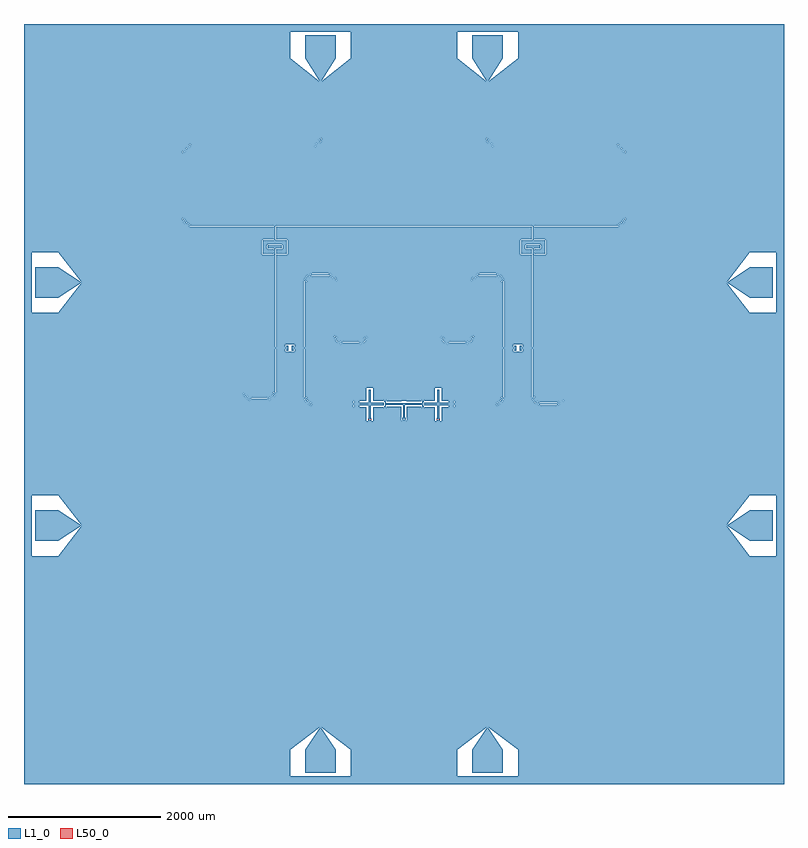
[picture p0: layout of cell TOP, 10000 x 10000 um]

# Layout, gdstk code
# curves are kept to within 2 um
import gdstk
lib = gdstk.Library(unit=1e-6, precision=1e-09)
def R(c, l, rs):  # rectangles x0, y0, x1, y1
    for r in rs: c.add(gdstk.rectangle(r[:2], r[2:], *l))
def P(c, l, *ps):  # polygons
    for p in ps: c.add(gdstk.Polygon(p, *l))
L1_0 = (1, 0)
L50_0 = (50, 0)

ground_main_1 = lib.new_cell('ground_main_1')
R(ground_main_1, L1_0, [(-399.5,-608.428,28.5,-568.601), (50.5,-608.428,399.5,-568.601), (-399.5,-568.601,28.5,-508.964), (50.5,-568.601,399.5,-508.964), (-5000,8.851,-3311,61.242), (3311,8.851,5000,61.242), (-5000,61.242,-3311,112.927), (3311,61.242,5000,112.927), (1717,112.927,2083,1521.729), (-5000,1521.729,-4900,1610.96), (-2083,1521.729,-1717,1610.96), (1717,1521.729,2083,1610.96), (4900,1521.729,5000,1610.96)])
P(ground_main_1, L1_0, [(5000,-3861.318),(74.424,-3861.318),(99.976,-3880.12),(133.187,-3888.839),(1003.979,-3889.04),(1036.123,-3894.758),(1065.173,-3909.659),(1082.879,-3925.543),(1095.254,-3942.289),(1104.253,-3961.067),(1109.993,-3984.15),(1111,-4250),(1500,-4550),(1500,-4900),(700,-4900),(700,-4550),(1089,-4250),(1087.04,-3980.53),(1077.649,-3955.77),(1061.318,-3934.924),(1039.524,-3919.88),(1014.241,-3912.002),(132.545,-3910.839),(106.213,-3906.155),(84.362,-3896.755),(62.853,-3880.86),(46.524,-3861.318),(-5000,-3861.318),(-5000,-4900),(-1500,-4900),(-1500,-4550),(-1111,-4250),(-1111,-4220),(-1089,-4220),(-1089,-4250),(-700,-4550),(-700,-4900),(-5000,-4900),(-5000,-5000),(5000,-5000)],
  [(-5000,-1557.711),(-5000,-3861.318),(46.524,-3861.318),(33.345,-3833.287),(28.5,-3801),(28.5,-1557.711),(-1604.746,-1557.711),(-1623.353,-1580.86),(-1644.862,-1596.755),(-1672.453,-1607.749),(-1699,-1611),(-4250,-1611),(-4550,-2000),(-4900,-2000),(-4900,-1557.711)],
  [(-1696.342,-1588.96),(-1660.476,-1580.12),(-1631.718,-1557.711),(-4274.13,-1557.711),(-4250,-1589)],
  [(5000,-1557.711),(4900,-1557.711),(4900,-2000),(4550,-2000),(4250,-1611),(1699,-1611),(1672.453,-1607.749),(1644.862,-1596.755),(1623.353,-1580.86),(1604.746,-1557.711),(50.5,-1557.711),(50.5,-3801),(58.253,-3837.116),(74.424,-3861.318),(5000,-3861.318)],
  [(4274.13,-1557.711),(1631.718,-1557.711),(1646.846,-1571.88),(1662.884,-1581.247),(1699,-1589),(4250,-1589)],
  [(-1631.399,-1557.339),(-1617.699,-1534.676),(-1611.361,-1508.964),(-1610.839,-1093.045),(-1605.242,-1063.877),(-1591.7,-1036.775),(-5000,-1036.775),(-5000,-1557.711),(-4900,-1557.711),(-4900,-1200),(-4550,-1200),(-4274.13,-1557.711)],
  [(28.5,-1036.775),(-1563.225,-1036.775),(-1580.12,-1060.476),(-1588.639,-1091.036),(-1589.04,-1503.979),(-1593.845,-1533.287),(-1604.746,-1557.711),(28.5,-1557.711)],
  [(1603.245,-1555.138),(1593.01,-1530.428),(1589.04,-1503.979),(1588.639,-1091.036),(1580.12,-1060.476),(1563.225,-1036.775),(50.5,-1036.775),(50.5,-1557.711),(1604.746,-1557.711)],
  [(5000,-1036.775),(1591.7,-1036.775),(1605.242,-1063.877),(1610.839,-1093.045),(1612.002,-1514.241),(1618.753,-1537.116),(1631.718,-1557.711),(4274.13,-1557.711),(4550,-1200),(4900,-1200),(4900,-1557.711),(5000,-1557.711)],
  [(-1590.341,-1034.827),(-1574.457,-1017.121),(-1552.525,-1001.814),(-1530.428,-993.01),(-1506.955,-989.161),(-509.5,-989),(-488.44,-986.443),(-5000,-986.443),(-5000,-1036.775)],
  [(28.5,-986.443),(-440.23,-986.443),(-471.567,-1004.253),(-506.521,-1010.96),(-1503.658,-1011.04),(-1537.116,-1018.753),(-1563.225,-1036.775),(28.5,-1036.775)],
  [(1561.318,-1034.924),(1534.676,-1017.699),(1503.658,-1011.04),(506.521,-1010.96),(471.567,-1004.253),(440.23,-986.443),(50.5,-986.443),(50.5,-1036.775)],
  [(5000,-986.443),(488.44,-986.443),(509.5,-989),(1506.955,-989.161),(1533.287,-993.845),(1555.138,-1003.245),(1574.457,-1017.121),(1591.7,-1036.775),(5000,-1036.775)],
  [(-485.869,-985.768),(-463.974,-976.309),(-443.631,-959.355),(-430.38,-939.524),(-422.941,-916.862),(-421.5,-608.428),(-685.353,-608.428),(-709,-611),(-5000,-608.428),(-5000,-986.443)],
  [(28.5,-608.428),(-399.5,-608.428),(-400.145,-912.893),(-412.314,-952.525),(-423.765,-969.916),(-440.23,-986.443),(28.5,-986.443)],
  [(440.23,-986.443),(423.765,-969.916),(412.314,-952.525),(400.145,-912.893),(399.5,-608.428),(50.5,-608.428),(50.5,-986.443)],
  [(5000,-608.428),(3224.647,-608.428),(3201,-611),(709,-611),(685.353,-608.428),(421.5,-608.428),(421.661,-906.313),(428.199,-934.676),(441.899,-957.339),(463.974,-976.309),(488.44,-986.443),(5000,-986.443)],
  [(-3227.547,-607.749),(-3260.242,-593.684),(-3287.763,-568.601),(-5000,-568.601),(-5000,-608.428)],
  [(-706.342,-588.96),(-677.795,-583.281),(-652.661,-568.601),(-3257.339,-568.601),(-3229.706,-584.186),(-3201,-589)],
  [(-421.5,-568.601),(-622.237,-568.601),(-649.758,-593.684),(-685.353,-608.428),(-421.5,-608.428)],
  [(682.453,-607.749),(649.758,-593.684),(622.237,-568.601),(421.5,-568.601),(421.5,-608.428)],
  [(3203.658,-588.96),(3232.205,-583.281),(3257.339,-568.601),(652.661,-568.601),(680.294,-584.186),(709,-589)],
  [(5000,-568.601),(3287.763,-568.601),(3260.242,-593.684),(3224.647,-608.428),(5000,-608.428)],
  [(-3288.57,-567.569),(-3304.253,-538.933),(-3310.702,-508.964),(-5000,-508.964),(-5000,-568.601)],
  [(-650.645,-566.869),(-629.88,-539.524),(-621.361,-508.964),(-3288.639,-508.964),(-3278.92,-541.896),(-3257.339,-568.601)],
  [(-421.5,-508.964),(-599.298,-508.964),(-606.813,-541.715),(-622.237,-568.601),(-421.5,-568.601)],
  [(621.43,-567.569),(605.747,-538.933),(599.298,-508.964),(421.5,-508.964),(421.5,-568.601)],
  [(3259.355,-566.869),(3280.12,-539.524),(3288.639,-508.964),(621.361,-508.964),(631.08,-541.896),(652.661,-568.601)],
  [(5000,-508.964),(3310.702,-508.964),(3303.187,-541.715),(3287.763,-568.601),(5000,-568.601)],
  [(-3310.839,-506.955),(-3310.96,-503.979),(-3311,-501),(-3311,8.851),(-5000,8.851),(-5000,-508.964),(-3310.702,-508.964)],
  [(28.5,-508.964),(28.5,-245),(-20.5,-245),(-20.5,-239),(34.5,-239),(34.5,-398),(44.5,-398),(44.5,-229),(-20.5,-229),(-20.5,-223),(50.5,-223),(50.5,-508.964),(399.5,-508.964),(399.5,-228),(470.5,-228),(470.5,-234),(405.5,-234),(405.5,-403),(415.5,-403),(415.5,-244),(470.5,-244),(470.5,-250),(421.5,-250),(421.5,-508.964),(599.298,-508.964),(599,-289),(621,-289),(621.361,-508.964),(3288.639,-508.964),(3289,8.851),(2069.909,8.851),(2036.846,-8.168),(2001,-13.845),(1789.899,-13.487),(1757.429,-6.14),(1730.091,8.851),(1274.001,8.851),(1242.571,-9.295),(1207.071,-16.841),(665,-17),(665,-45),(495,-45),(495,-225),(405,-225),(405,-45),(272,-45),(272,-52),(228,-52),(228,-37.5),(37.5,-37.5),(37.5,-220),(-37.5,-220),(-37.5,-37.5),(-228,-37.5),(-228,-52),(-272,-52),(-272,-45),(-405,-45),(-405,-225),(-495,-225),(-495,-45),(-665,-45),(-665,-17),(-1207.071,-16.841),(-1242.571,-9.295),(-1274.001,8.851),(-3289,8.851),(-3288.639,-508.964),(-621.361,-508.964),(-621,-289),(-599,-289),(-599.298,-508.964),(-421.5,-508.964),(-421.5,-250),(-470.5,-250),(-470.5,-244),(-415.5,-244),(-415.5,-403),(-405.5,-403),(-405.5,-234),(-470.5,-234),(-470.5,-228),(-399.5,-228),(-399.5,-508.964)],
  [(5000,8.851),(3311,8.851),(3311,-501),(3310.96,-503.979),(3310.839,-506.955),(3310.702,-508.964),(5000,-508.964)],
  [(-1276.336,10.793),(-1296.599,33.297),(-1310.674,61.242),(-1743.65,61.242),(-1771.92,50.39),(-1799,47.185),(-2007.071,47.344),(-2033.946,51.962),(-2056.35,61.242),(-3289,61.242),(-3289,8.851)],
  [(1728.384,10.126),(1705.154,33.972),(1690.462,61.242),(1310.674,61.242),(1296.599,33.297),(1274.001,8.851)],
  [(2003.576,20.195),(2023.877,23.411),(2042.741,31.574),(2058.983,44.172),(2072.053,61.242),(1727.947,61.242),(1739.225,46.022),(1752.909,34.334),(1786.172,21.165)],
  [(3289,61.242),(2109.538,61.242),(2093.029,31.539),(2069.909,8.851),(3289,8.851)],
  [(-2059,62.726),(-2085.143,83.336),(-2105.543,112.927),(-3289,112.927),(-3289,61.242)],
  [(-1796.424,81.225),(-1761.773,90.122),(-1734.207,112.927),(-2065.793,112.927),(-2040.504,91.328),(-2011.277,81.832)],
  [(-1311.323,63.154),(-1316.365,86.875),(-1317,112.927),(-1694.457,112.927),(-1714.857,83.336),(-1743.65,61.242)],
  [(1689.654,63.433),(1683.992,87.014),(1683,112.927),(1317,112.927),(1316.008,83.859),(1310.674,61.242),(1690.462,61.242)],
  [(2072.857,62.651),(2081.548,86.79),(2083,112.927),(1717,112.927),(1718.975,84.267),(1727.947,61.242)],
  [(3289,112.927),(2117,112.927),(2116.008,87.014),(2109.538,61.242),(3289,61.242)],
  [(-5000,1521.729),(-5000,112.927),(-3311,112.927),(-3311,1501),(-3313.481,1521.729),(-4301.88,1521.729),(-4550,1200),(-4900,1200),(-4900,1521.729)],
  [(-2105.7,113.246),(-2113.795,136.105),(-2117,163.185),(-2117,1521.729),(-3290.971,1521.729),(-3289,112.927)],
  [(-1732.661,114.987),(-1721.013,137.846),(-1717,163.185),(-1717,1521.729),(-2083,1521.729),(-2083,163.185),(-2080.424,142.792),(-2065.793,112.927),(-1734.207,112.927)],
  [(3289,1501),(3289.04,1503.979),(3289.161,1506.955),(3289.363,1509.927),(3289.645,1512.893),(3290.007,1515.85),(3290.449,1518.796),(3290.971,1521.729),(2117,1521.729),(2117,112.927),(3289,112.927)],
  [(5000,1521.729),(4900,1521.729),(4900,1200),(4550,1200),(4301.88,1521.729),(3313.481,1521.729),(3311,1501),(3311,112.927),(5000,112.927)],
  [(1683,718.491),(1563.5,718.491),(1561.5,686.991),(1438.304,687.001),(1436.5,718.491),(1317,718.491),(1317,112.927),(1683,112.927)],
  [(-1317,718.491),(-1436.5,718.491),(-1438.5,686.991),(-1561.696,687.001),(-1563.5,718.491),(-1683,718.491),(-1683.04,160.148),(-1686.205,136.105),(-1694.457,112.927),(-1317,112.927)],
  [(-2117,1610.96),(-3396.021,1610.96),(-3361.067,1604.253),(-3327.788,1584.838),(-3304.746,1557.711),(-3290.971,1521.729),(-2117,1521.729)],
  [(3291.572,1524.647),(3304.746,1557.711),(3327.788,1584.838),(3361.067,1604.253),(3396.021,1610.96),(2117,1610.96),(2117,1521.729),(3290.971,1521.729)],
  [(4250,1589),(3393.687,1588.839),(3365.324,1582.301),(3342.661,1568.601),(3323.691,1546.526),(3313.481,1521.729),(4301.88,1521.729)],
  [(-3313.557,1522.06),(-3323.691,1546.526),(-3342.661,1568.601),(-3365.324,1582.301),(-3393.687,1588.839),(-4250,1589),(-4301.88,1521.729)],
  [(-1717,1963.491),(-1861.176,1963.549),(-1869.276,1967.878),(-1872,1975.491),(-1871.087,2157.083),(-1866.667,2162.469),(-1860,2164.491),(-1717,2164.491),(-1717,2333.491),(-2804.037,2333.531),(-2828.08,2336.696),(-2853.663,2346.134),(-2876.336,2361.284),(-2893.055,2378.91),(-5000,2378.91),(-5000,1610.96),(-4900,1610.96),(-4900,2000),(-4550,2000),(-4250,1611),(-2117,1610.96),(-2117,1700.491),(-2083,1700.491),(-2083,1610.96),(-1717,1610.96)],
  [(2803.576,2367.532),(2823.877,2370.747),(2842.741,2378.91),(-2842.741,2378.91),(-2821.393,2370.067),(-2801,2367.491)],
  [(5000,2378.91),(2893.055,2378.91),(2876.336,2361.284),(2853.663,2346.134),(2828.08,2336.696),(2804.037,2333.531),(1717,2333.491),(1717,2164.491),(1861.176,2164.433),(1869.276,2160.104),(1872,2152.491),(1872,1975.491),(1869.276,1967.878),(1860,1963.491),(1717,1963.491),(1717,1610.96),(2083,1610.96),(2083,1700.491),(2117,1700.491),(2117,1610.96),(4250,1611),(4550,2000),(4900,2000),(4900,1610.96),(5000,1610.96)],
  [(-2893.055,2378.91),(-2910.346,2410.77),(-2916.96,2446.455),(-2917,3301),(-2914.465,3325.118),(-2906.971,3348.181),(-5000,3348.181),(-5000,2378.91)],
  [(2844.938,2380.256),(2860.775,2393.358),(2872.857,2409.987),(2880.424,2429.099),(2882.96,2446.915),(2882.96,3303.576),(2878.987,3326.339),(2868.054,3348.181),(-2868.054,3348.181),(-2877.242,3331.186),(-2881.99,3313.828),(-2882.96,2446.915),(-2879.744,2426.614),(-2871.581,2407.75),(-2858.983,2391.508),(-2842.741,2378.91)],
  [(5000,3348.181),(2906.971,3348.181),(2914.465,3325.118),(2917,3301),(2916.96,2446.455),(2910.346,2410.77),(2893.055,2378.91),(5000,2378.91)],
  [(-2905.7,3350.939),(-2891.149,3374.001),(-2871.616,3393.029),(-2848.181,3406.971),(-2823.15,3414.857),(-5000,3414.857),(-5000,3348.181),(-2906.971,3348.181)],
  [(2867.339,3349.198),(2855.228,3362.509),(2838.227,3374.063),(2803.576,3382.96),(1195.963,3383.04),(1154.609,3391.83),(1119.151,3414.857),(-1119.151,3414.857),(-1154.609,3391.83),(-1195.963,3383.04),(-2803.576,3382.96),(-2821.393,3380.424),(-2840.504,3372.857),(-2855.228,3362.509),(-2868.054,3348.181)],
  [(5000,3414.857),(2823.15,3414.857),(2850.939,3405.7),(2874.001,3391.149),(2893.029,3371.616),(2906.971,3348.181),(5000,3348.181)],
  [(-2822.139,3415.058),(-1199,3417),(-1173.661,3421.013),(-1152.909,3431.179),(-1137.491,3444.772),(-1127.143,3459.496),(-1119.576,3478.607),(-1117.04,3496.424),(-1117,4250),(-1500,4550),(-1500,4900),(-700,4900),(-700,4550),(-1083,4250),(-1083.159,3492.929),(-1086.205,3471.92),(-1094.3,3449.061),(-1119.151,3414.857),(700,3414.857),(700,5000),(-5000,5000),(-5000,3414.857)],
  [(1500,4550),(1117,4250),(1117.162,3493.851),(1122.758,3468.814),(1134.207,3448.742),(1152.909,3431.179),(1173.661,3421.013),(1199,3417),(5000,3414.857),(5000,5000),(700,5000),(700,4900),(1500,4900)],
  [(1119.151,3414.857),(1094.3,3449.061),(1086.205,3471.92),(1083.159,3492.929),(1083,4250),(700,4550),(700,3414.857)],
  [(-1563.5,781.991),(-1438.304,783.982),(-1436.5,752.491),(-1317,752.491),(-1316.841,1607.562),(-1309.295,1643.062),(-1291.149,1674.492),(-1266.703,1697.09),(-1233.946,1712.714),(-1233.946,2333.491),(-1683,2333.491),(-1683,2164.491),(-1538.824,2164.433),(-1531.515,2160.976),(-1528.058,2153.667),(-1528,1975.491),(-1530.724,1967.878),(-1540,1963.491),(-1683,1963.491),(-1683,752.491),(-1563.5,752.491)],
  [(-1233.946,1676.576),(-1255.228,1663),(-1270.235,1645.429),(-1279.744,1624.368),(-1283,1601.491),(-1282.96,96.424),(-1278.987,73.661),(-1268.821,52.909),(-1253.269,35.818),(-1233.946,23.916)],
  [(-1228.08,1714.286),(-1201,1717.491),(-999,1717.491),(-974.882,1714.956),(-946.337,1704.848),(-923.664,1689.698),(-905.154,1669.674),(-891.83,1645.882),(-883.04,1604.528),(-883,899.491),(-878.619,873.078),(-878.619,2333.491),(-1233.946,2333.491),(-1233.946,1712.714)],
  [(-878.619,813.286),(-894.846,831.308),(-905.7,849.552),(-913.795,872.412),(-916.841,893.42),(-917,1601.491),(-922.758,1631.677),(-932.661,1649.69),(-946.731,1664.673),(-964.086,1675.687),(-986.172,1682.482),(-1203.576,1683.451),(-1231.186,1677.733),(-1233.946,1676.576),(-1233.946,23.916),(-1203.576,17.04),(-878.619,17)],
  [(1235.914,24.804),(1255.228,37.491),(1268.821,52.909),(1278.987,73.661),(1282.96,96.424),(1283,1601.491),(1279.744,1624.368),(1270.235,1645.429),(1255.228,1663),(1233.946,1676.576)],
  [(228,37.5),(228,52),(272,52),(272,45),(405,45),(405,215),(495,215),(495,45),(665,45),(665,17),(878.619,17),(878.619,813.286),(845.391,792.321),(810.101,783.849),(599,783.491),(574.882,786.026),(538.39,800.585),(508.851,826.49),(489.654,860.77),(483,899.491),(483,1164.236),(517,1164.236),(517.364,891.774),(525.937,862.264),(546.731,836.309),(568.814,823.249),(593.851,817.653),(811.277,818.138),(833.566,824.235),(853.269,836.309),(868.821,853.4),(878.619,873.078),(878.619,2333.491),(37.5,2333.491),(37.5,37.5)],
  [(878.987,874.152),(883,899.491),(883,1601.491),(886.205,1628.571),(897.057,1656.842),(916.976,1683.516),(941,1701.95),(971.92,1714.286),(995.963,1717.451),(1201,1717.491),(1233.946,1712.714),(1233.946,2333.491),(878.619,2333.491)],
  [(1203.576,17.04),(1233.946,23.916),(1233.946,1676.576),(1203.576,1683.451),(988.723,1682.845),(961.773,1674.554),(939.225,1657.624),(923.744,1634.057),(917.162,1606.64),(916.841,893.42),(913.795,872.412),(905.7,849.552),(894.846,831.308),(878.619,813.286),(878.619,17)],
  [(1436.5,781.991),(1561.696,783.982),(1563.5,752.491),(1683,752.491),(1683,1963.491),(1538.824,1963.549),(1530.724,1967.878),(1528,1975.491),(1528.913,2157.083),(1533.333,2162.469),(1540,2164.491),(1683,2164.491),(1683,2333.491),(1233.946,2333.491),(1233.946,1712.714),(1266.703,1697.09),(1291.149,1674.492),(1309.295,1643.062),(1316.841,1607.562),(1317,752.491),(1436.5,752.491)],
  [(-596.424,817.532),(-581.112,819.466),(-568.814,823.249),(-831.186,823.249),(-818.888,819.466),(-803.576,817.532)],
  [(-665,45),(-495,45),(-495,215),(-405,215),(-405,45),(-272,45),(-272,52),(-228,52),(-228,37.5),(37.5,40),(37.5,823.249),(-511.587,823.249),(-530.817,805.645),(-551.819,793.52),(-574.882,786.026),(-599,783.491),(-813.125,784.127),(-848.181,793.52),(-878.619,813.286),(-878.619,17),(-665,17)],
  [(37.5,2333.491),(-878.619,2333.491),(-878.619,873.078),(-864.182,847.222),(-842.741,828.91),(-831.186,823.249),(-568.814,823.249),(-557.259,828.91),(-531.179,853.4),(-518.452,884.126),(-517,1041.566),(-483,1041.566),(-483.992,884.35),(-493.029,852.31),(-511.587,823.249),(37.5,823.249)])

top_main_1 = lib.new_cell('TOP_main_1')
R(top_main_1, L1_0, [(-1577.5,727.491,-1557.5,743.491), (-1557.5,727.491,-1547.499,743.491), (-1452.501,727.491,-1442.5,743.491), (-1442.5,727.491,-1422.5,743.491), (1422.5,727.491,1442.5,743.491), (1442.5,727.491,1452.501,743.491), (1547.499,727.491,1557.5,743.491), (1557.5,727.491,1577.5,743.491), (-1708,885.491,-1692,1935.491), (1692,885.491,1708,1935.491), (-1708,1935.491,-1692,2047.492), (1692,1935.491,1708,2047.492), (-1708,2152.49,-1692,2200.491), (1692,2152.49,1708,2200.491), (-1708,2200.491,-1692,2250.491), (1692,2200.491,1708,2250.491), (-1550,2342.491,1550,2358.491)])
P(top_main_1, L1_0, [(-635,-15),(-465,-15),(-465,-185),(-470,-185),(-470,-202.5),(-460,-202.5),(-460,-193),(-440,-193),(-440,-202.5),(-430,-202.5),(-430,-185),(-435,-185),(-435,-15),(-265,-15),(-265,15),(-435,15),(-435,185),(-465,185),(-465,15),(-635,15),(-635,-15)],
  [(-430,-225),(-430,-207.5),(-440,-207.5),(-440,-217),(-460,-217),(-460,-207.5),(-470,-207.5),(-470,-225),(-430,-225)],
  [(-588,-23),(-588,-33),(-643,-33),(-653,-33),(-653,-8),(-693,-8),(-693,8),(-653,8),(-653,33),(-643,33),(-588,33),(-588,23),(-643,23),(-643,-23),(-588,-23)],
  [(-405.5,-234),(-415.5,-234),(-470.5,-234),(-470.5,-244),(-415.5,-244),(-415.5,-403),(-405.5,-403),(-405.5,-244),(-405.5,-234)],
  [(265,-15),(435,-15),(435,-185),(430,-185),(430,-202.5),(440,-202.5),(440,-193),(460,-193),(460,-202.5),(470,-202.5),(470,-185),(465,-185),(465,-15),(635,-15),(635,15),(465,15),(465,185),(435,185),(435,15),(265,15),(265,-15)],
  [(470,-225),(470,-207.5),(460,-207.5),(460,-217),(440,-217),(440,-207.5),(430,-207.5),(430,-225),(470,-225)],
  [(588,23),(588,33),(643,33),(653,33),(653,8),(693,8),(693,-8),(653,-8),(653,-33),(643,-33),(588,-33),(588,-23),(643,-23),(643,23),(588,23)],
  [(405.5,-234),(415.5,-234),(470.5,-234),(470.5,-244),(415.5,-244),(415.5,-403),(405.5,-403),(405.5,-244),(405.5,-234)],
  [(-250,30),(-250,-30),(-260,-30),(-260,-40),(-250,-40),(-240,-40),(-240,-7.5),(-7.5,-7.5),(-7.5,-180),(-20,-180),(-20,-197.5),(-10,-197.5),(-10,-188),(10,-188),(10,-197.5),(20,-197.5),(20,-180),(7.5,-180),(7.5,-7.5),(240,-7.5),(240,-40),(250,-40),(260,-40),(260,-30),(250,-30),(250,30),(260,30),(260,40),(250,40),(240,40),(240,7.5),(-240,7.5),(-240,40),(-250,40),(-260,40),(-260,30),(-250,30)],
  [(20,-220),(20,-202.5),(10,-202.5),(10,-212),(-10,-212),(-10,-202.5),(-20,-202.5),(-20,-220),(20,-220)],
  [(44.5,-229),(34.5,-229),(-20.5,-229),(-20.5,-239),(34.5,-239),(34.5,-398),(44.5,-398),(44.5,-239),(44.5,-229)],
  [(-4250,1605),(-4550,1800),(-4850,1800),(-4850,1400),(-4550,1400),(-4250,1595),(-4220,1595),(-4220,1605),(-4250,1605)],
  [(-4250,-1595),(-4550,-1400),(-4850,-1400),(-4850,-1800),(-4550,-1800),(-4250,-1605),(-4220,-1605),(-4220,-1595),(-4250,-1595)],
  [(1095,-4250),(900,-4550),(900,-4850),(1300,-4850),(1300,-4550),(1105,-4250),(1105,-4220),(1095,-4220),(1095,-4250)],
  [(4250,-1605),(4550,-1800),(4850,-1800),(4850,-1400),(4550,-1400),(4250,-1595),(4220,-1595),(4220,-1605),(4250,-1605)],
  [(4250,1595),(4550,1400),(4850,1400),(4850,1800),(4550,1800),(4250,1605),(4220,1605),(4220,1595),(4250,1595)],
  [(1108,4250),(1300,4550),(1300,4850),(900,4850),(900,4550),(1092,4250),(1092,4220),(1108,4220),(1108,4250)],
  [(-1092,4250),(-900,4550),(-900,4850),(-1300,4850),(-1300,4550),(-1108,4250),(-1108,4220),(-1092,4220),(-1092,4250)],
  [(-1105,-4250),(-1300,-4550),(-1300,-4850),(-900,-4850),(-900,-4550),(-1095,-4250),(-1095,-4220),(-1105,-4220),(-1105,-4250)],
  [(-1708,2250.491),(-1708,2342.491),(-1850,2342.491),(-1850,2358.491),(-1550,2358.491),(-1550,2342.491),(-1692,2342.491),(-1692,2250.491),(-1708,2250.491)],
  [(-1791,2080.491),(-1788.657,2086.148),(-1783,2088.491),(-1616.216,2088.453),(-1609.154,2082.052),(-1609.039,2054.707),(-1611.343,2049.834),(-1617,2047.491),(-1783.784,2047.53),(-1790.846,2053.93)],
  [(-1724.902,1975.496),(-1717.067,1982.513),(-1718.247,2031.767),(-1724.412,2035.462),(-1799.445,2036.839),(-1802.961,2042.707),(-1803,2092.491),(-1800.657,2098.148),(-1795.784,2100.453),(-1717,2100.491),(-1717,2152.491),(-1856.917,2150.792),(-1860,2144.393),(-1858.301,1978.574),(-1851.902,1975.491)],
  [(-1547.902,1975.496),(-1542.489,1977.702),(-1540.005,1983.393),(-1540,2144.393),(-1542.211,2150.003),(-1548.098,2152.491),(-1717,2152.491),(-1717,2100.491),(-1604.216,2100.453),(-1597.154,2094.052),(-1597.039,2042.707),(-1600.555,2036.839),(-1675.588,2035.462),(-1681.535,2032.093),(-1683,1983.589),(-1680.789,1977.98),(-1674.902,1975.491)],
  [(-1692,885.491),(-1692,743.491),(-1577.5,743.491),(-1577.5,727.491),(-1692,727.491),(-1692,585.491),(-1708,585.491),(-1708,885.491),(-1692,885.491)],
  [(-1422.5,743.491),(-1308,743.491),(-1308,885.491),(-1292,885.491),(-1292,585.491),(-1308,585.491),(-1308,727.491),(-1422.5,727.491),(-1422.5,743.491)],
  [(-1545.5,702.991),(-1547.5,704.991),(-1547.414,766.572),(-1523.919,767.905),(-1522.586,704.411)],
  [(-1475.5,702.991),(-1477.5,704.991),(-1477.414,766.572),(-1453.919,767.905),(-1452.586,704.411)],
  [(1692,2250.491),(1692,2342.491),(1550,2342.491),(1550,2358.491),(1850,2358.491),(1850,2342.491),(1708,2342.491),(1708,2250.491),(1692,2250.491)],
  [(1609,2080.491),(1611.343,2086.148),(1617,2088.491),(1783.784,2088.453),(1790.846,2082.052),(1790.961,2054.707),(1788.657,2049.834),(1783,2047.491),(1616.216,2047.53),(1609.154,2053.93)],
  [(1675.098,1975.496),(1682.933,1982.513),(1681.753,2031.767),(1675.588,2035.462),(1600.555,2036.839),(1597.039,2042.707),(1597,2092.491),(1599.343,2098.148),(1604.216,2100.453),(1683,2100.491),(1683,2152.491),(1543.083,2150.792),(1540,2144.393),(1541.699,1978.574),(1548.098,1975.491)],
  [(1852.098,1975.496),(1857.511,1977.702),(1859.995,1983.393),(1860,2144.393),(1857.789,2150.003),(1851.902,2152.491),(1683,2152.491),(1683,2100.491),(1795.784,2100.453),(1802.846,2094.052),(1802.961,2042.707),(1799.445,2036.839),(1724.412,2035.462),(1718.465,2032.093),(1717,1983.589),(1719.211,1977.98),(1725.098,1975.491)],
  [(1577.5,743.491),(1692,743.491),(1692,885.491),(1708,885.491),(1708,585.491),(1692,585.491),(1692,727.491),(1577.5,727.491),(1577.5,743.491)],
  [(1308,885.491),(1308,743.491),(1422.5,743.491),(1422.5,727.491),(1308,727.491),(1308,585.491),(1292,585.491),(1292,885.491),(1308,885.491)],
  [(1454.5,702.991),(1452.5,704.991),(1452.586,766.572),(1476.081,767.905),(1477.414,704.411)],
  [(1524.5,702.991),(1522.5,704.991),(1522.586,766.572),(1546.081,767.905),(1547.414,704.411)],
  [(-1292,585.491),(-1308,585.491),(-1307.959,96.052),(-1305.41,75.601),(-1298.988,56.019),(-1288.93,38.031),(-1275.611,22.304),(-1259.523,9.423),(-1243.981,1.012),(-1227.267,-4.726),(-1206.894,-7.838),(-693,-8),(-693,8),(-1206.391,8.16),(-1237.684,15.722),(-1264.386,33.707),(-1283.155,59.864),(-1289.454,77.625),(-1291.84,93.609)],
  [(-1796.052,56.226),(-1772.733,59.459),(-1750.686,67.714),(-1733.279,78.747),(-1716.405,95.163),(-1738.567,95.163),(-1752.724,84.83),(-1767.314,77.88),(-1799,72.185),(-2009.08,72.544),(-2037.684,79.907),(-2061.433,95.163),(-2083.595,95.163),(-2069.022,80.59),(-2054.5,70.52),(-2035.743,61.983),(-2015.697,57.199)],
  [(-2062.423,96.042),(-2073.332,107.966),(-2083.155,124.049),(-2089.454,141.81),(-2091.96,160.488),(-2092,1700.491),(-2108,1700.491),(-2107.959,160.237),(-2103.121,131.244),(-2088.93,102.216),(-2083.595,95.163)],
  [(-1714.562,97.464),(-1698.793,125.667),(-1692.162,157.291),(-1692,585.491),(-1708,585.491),(-1708.359,155.105),(-1711.218,139.199),(-1718.041,121.632),(-1726.668,107.966),(-1738.567,95.163),(-1716.405,95.163)],
  [(-596.052,792.532),(-567.059,797.37),(-540.477,809.914),(-520.278,827.022),(-503.529,851.177),(-521.89,851.177),(-539.593,830.558),(-562.316,816.213),(-580.256,810.443),(-599,808.491),(-814.436,809.489),(-835.2,815.162),(-851.837,824.015),(-866.293,836.105),(-878.11,851.177),(-896.471,851.177),(-883.595,831.469),(-866.721,815.053),(-843.981,801.503),(-821.513,794.476),(-801,792.491)],
  [(-1292,1601.491),(-1288.782,1625.478),(-1278.11,1649.805),(-1296.471,1649.805),(-1304.726,1627.758),(-1307.959,1604.439),(-1308,885.491),(-1292,885.491)],
  [(-879.355,853.215),(-888.782,875.505),(-891.96,896.795),(-892.162,1607.386),(-896.037,1630.606),(-903.529,1649.805),(-921.89,1649.805),(-911.968,1628.068),(-908.04,1604.188),(-907.838,893.597),(-903.963,870.376),(-896.471,851.177),(-878.11,851.177)],
  [(-502.234,853.826),(-495.274,873.224),(-492.162,893.597),(-492,1041.566),(-508,1041.566),(-508.16,894.1),(-511.968,872.914),(-521.89,851.177),(-503.529,851.177)],
  [(-904.896,1652.418),(-918.311,1671.764),(-935.631,1687.708),(-956.019,1699.479),(-978.487,1706.506),(-999,1708.491),(-1201,1708.491),(-1230.115,1704.454),(-1257.033,1692.647),(-1279.722,1673.96),(-1296.471,1649.805),(-1278.11,1649.805),(-1260.407,1670.425),(-1237.684,1684.769),(-1219.744,1690.54),(-1201,1692.491),(-985.564,1691.494),(-964.8,1685.82),(-948.163,1676.967),(-933.707,1664.877),(-921.89,1649.805),(-903.529,1649.805)],
  [(1308,585.491),(1292,585.491),(1291.641,90.92),(1283.155,59.864),(1264.386,33.707),(1237.684,15.722),(1206.391,8.16),(693,8),(693,-8),(1206.894,-7.838),(1227.267,-4.726),(1243.981,1.012),(1259.523,9.423),(1275.611,22.304),(1288.93,38.031),(1298.988,56.019),(1304.726,72.733),(1307.838,93.106)],
  [(2003.948,-4.804),(2027.267,-1.571),(2046.665,5.389),(2066.721,17.717),(2082.823,33.221),(2060.407,33.221),(2032.686,16.85),(2001,11.155),(1790.92,11.514),(1764.8,17.826),(1739.593,33.221),(1717.177,33.221),(1730.978,19.56),(1748.074,8.051),(1767.059,0.034),(1784.303,-3.831)],
  [(2083.595,34.133),(2101.207,64.637),(2107.959,99.207),(2108,1700.491),(2092,1700.491),(2091.96,99.458),(2089.454,80.78),(2083.155,63.019),(2073.332,46.936),(2060.407,33.221)],
  [(1737.577,35.012),(1726.668,46.936),(1716.845,63.019),(1708.359,94.075),(1708,585.491),(1692,585.491),(1692.365,93.319),(1698.793,64.637),(1714.562,36.434),(1717.177,33.221),(1739.593,33.221)],
  [(803.948,792.532),(832.941,797.37),(859.523,809.914),(879.722,827.022),(896.471,851.177),(878.11,851.177),(860.407,830.558),(837.684,816.213),(819.744,810.443),(801,808.491),(585.564,809.489),(564.8,815.162),(548.163,824.015),(533.707,836.105),(521.89,851.177),(503.529,851.177),(516.405,831.469),(533.279,815.053),(556.019,801.503),(578.487,794.476),(599,792.491)],
  [(897.766,853.826),(905.41,876.092),(908,899.491),(908.04,1604.188),(911.968,1628.068),(921.89,1649.805),(903.529,1649.805),(895.274,1627.758),(892.041,1604.439),(891.96,896.795),(888.032,872.914),(878.11,851.177),(896.471,851.177)],
  [(1308,1601.491),(1304.726,1627.758),(1296.471,1649.805),(1278.11,1649.805),(1288.032,1628.068),(1291.96,1604.188),(1292,885.491),(1308,885.491)],
  [(520.645,853.215),(511.218,875.505),(508.04,896.795),(508,1164.236),(492,1164.236),(492.365,890.655),(496.037,870.376),(503.529,851.177),(521.89,851.177)],
  [(1295.104,1652.418),(1281.689,1671.764),(1264.369,1687.708),(1243.981,1699.479),(1221.513,1706.506),(1201,1708.491),(999,1708.491),(969.885,1704.454),(942.967,1692.647),(920.278,1673.96),(903.529,1649.805),(921.89,1649.805),(939.593,1670.425),(962.316,1684.769),(980.256,1690.54),(999,1692.491),(1214.436,1691.494),(1235.2,1685.82),(1251.837,1676.967),(1266.293,1664.877),(1278.11,1649.805),(1296.471,1649.805)],
  [(-1850,2358.491),(-2803.697,2358.531),(-2835.2,2365.162),(-2851.837,2374.015),(-2864.386,2384.198),(-2876.476,2398.654),(-2884.278,2412.807),(-2890.049,2430.747),(-2891.96,2446.795),(-2891.96,3303.697),(-2889.454,3322.375),(-2883.155,3340.136),(-2873.332,3356.219),(-2858.806,3371.272),(-2881.689,3371.272),(-2893.665,3354.5),(-2901.207,3338.518),(-2907.959,3303.948),(-2908,2449.491),(-2906.015,2428.978),(-2900.135,2409.226),(-2890.577,2390.968),(-2875.611,2372.795),(-2859.523,2359.914),(-2841.265,2350.356),(-2824.399,2345.081),(-2803.948,2342.532),(-1850,2342.491)],
  [(-2858.338,3371.664),(-2832.686,3386.305),(-2803.697,3391.96),(-1199,3392),(-1175.601,3394.59),(-1153.335,3402.234),(-1130.978,3416.405),(-1111.07,3438.031),(-1098.793,3461.482),(-1092.365,3490.164),(-1092,4220),(-1108,4220),(-1108.359,3490.92),(-1112.793,3469.855),(-1123.524,3448.163),(-1139.593,3430.066),(-1159.864,3416.845),(-1180.256,3409.951),(-1199,3408),(-2803.948,3407.959),(-2832.941,3403.121),(-2859.523,3390.577),(-2881.689,3371.272)],
  [(2803.948,2342.532),(2824.399,2345.081),(2841.265,2350.356),(2859.523,2359.914),(2875.611,2372.795),(2887.217,2386.122),(2897.766,2403.826),(2903.963,2420.376),(2907.635,2440.655),(2907.959,3303.948),(2901.207,3338.518),(2893.665,3354.5),(2881.689,3371.272),(2858.806,3371.272),(2873.332,3356.219),(2883.155,3340.136),(2889.454,3322.375),(2891.96,3303.697),(2891.96,2446.795),(2890.049,2430.747),(2884.278,2412.807),(2876.476,2398.654),(2864.386,2384.198),(2851.837,2374.015),(2835.2,2365.162),(2803.697,2358.531),(1850,2358.491),(1850,2342.491)],
  [(2879.722,3373.469),(2864.369,3387.217),(2843.981,3398.988),(2824.399,3405.41),(2803.948,3407.959),(1199,3408),(1180.256,3409.951),(1159.864,3416.845),(1139.593,3430.066),(1123.524,3448.163),(1112.793,3469.855),(1108.359,3490.92),(1108,4220),(1092,4220),(1092.365,3490.164),(1098.793,3461.482),(1111.07,3438.031),(1130.978,3416.405),(1153.335,3402.234),(1175.601,3394.59),(1199,3392),(2803.697,3391.96),(2832.686,3386.305),(2858.806,3371.272),(2881.689,3371.272)],
  [(-3271.22,-563.491),(-3281.005,-550.348),(-3288.359,-535.705),(-3293.058,-520.008),(-3294.96,-503.734),(-3295,1501),(-3297.517,1523.743),(-3303.76,1542.776),(-3318.721,1567.115),(-3339.74,1586.465),(-3365.231,1599.365),(-3393.271,1604.842),(-4220,1605),(-4220,1595),(-3390.807,1594.642),(-3364.295,1588.359),(-3342.867,1576.4),(-3325.265,1559.302),(-3312.688,1538.231),(-3306.942,1520.008),(-3305,1501),(-3304.961,-503.866),(-3301.076,-529.299),(-3291.067,-553),(-3281.279,-567.115),(-3271.22,-577.71)],
  [(-706.134,-604.961),(-691.882,-603.582),(-675.231,-599.365),(-659.501,-592.465),(-645.122,-583.071),(-634.455,-573.519),(-623.535,-560.26),(-614.947,-545.385),(-609.742,-532.046),(-605.039,-503.866),(-605,-295),(-615,-295),(-615.04,-503.734),(-619.771,-530.567),(-632,-554.916),(-650.698,-574.735),(-674.295,-588.359),(-700.807,-594.642),(-3201,-595),(-3220.008,-593.058),(-3240.726,-586.193),(-3257.133,-576.4),(-3271.22,-563.491),(-3271.22,-577.71),(-3255.462,-589.6),(-3229.299,-601.076),(-3203.866,-604.961)],
  [(-1696.134,-1604.961),(-1679.062,-1603.071),(-1662.534,-1598.397),(-1647,-1591.067),(-1632.885,-1581.279),(-1620.573,-1569.302),(-1610.4,-1555.462),(-1602.645,-1540.136),(-1597.517,-1523.743),(-1595,-1501),(-1594.841,-1093.534),(-1593.058,-1079.992),(-1588.359,-1064.295),(-1581.005,-1049.652),(-1571.22,-1036.509),(-1571.22,-1022.29),(-1583.071,-1035.122),(-1593.794,-1052.041),(-1601.076,-1070.701),(-1604.645,-1090.412),(-1605,-1501),(-1606.428,-1517.323),(-1614.999,-1543.187),(-1630.627,-1565.507),(-1642.867,-1576.4),(-1654.388,-1583.739),(-1679.992,-1593.058),(-1699,-1595),(-4220,-1595),(-4220,-1605)],
  [(-1569.373,-1034.493),(-1557.133,-1023.6),(-1540.726,-1013.807),(-1522.678,-1007.534),(-1503.734,-1005.04),(-509.5,-1005),(-483.97,-1001.818),(-460.001,-992.465),(-439.063,-977.515),(-422.435,-957.883),(-411.135,-934.769),(-405.855,-909.588),(-405.5,-403),(-415.5,-403),(-416.136,-911.913),(-421.169,-933.15),(-430.964,-952.654),(-444.993,-969.373),(-464.888,-983.739),(-485.171,-991.797),(-509.5,-995),(-1506.729,-995.158),(-1532.046,-999.742),(-1555.462,-1010.4),(-1571.22,-1022.29),(-1571.22,-1036.509)],
  [(3203.866,-604.961),(3229.299,-601.076),(3255.462,-589.6),(3271.22,-577.71),(3271.22,-563.491),(3257.133,-576.4),(3240.726,-586.193),(3220.008,-593.058),(3201,-595),(698.087,-594.364),(671.769,-587.312),(648.578,-573.008),(630.464,-552.654),(618.949,-527.96),(615.04,-503.734),(615,-295),(605,-295),(605.039,-503.866),(609.742,-532.046),(614.947,-545.385),(623.535,-560.26),(642.885,-581.279),(654.538,-589.6),(669.864,-597.355),(697.559,-604.369)],
  [(3271.437,-577.515),(3284.8,-562.592),(3295.053,-545.385),(3301.818,-526.53),(3304.961,-503.866),(3305,1501),(3306.942,1520.008),(3312.688,1538.231),(3325.265,1559.302),(3342.867,1576.4),(3364.295,1588.359),(3390.807,1594.642),(4220,1595),(4220,1605),(3393.271,1604.842),(3365.231,1599.365),(3339.74,1586.465),(3318.721,1567.115),(3303.76,1542.776),(3297.517,1523.743),(3295,1501),(3294.96,-503.734),(3293.058,-520.008),(3288.359,-535.705),(3281.005,-550.348),(3271.22,-563.491)],
  [(1571.22,-1022.29),(1555.462,-1010.4),(1540.136,-1002.645),(1523.743,-997.517),(1503.866,-995.039),(509.5,-995),(485.171,-991.797),(464.888,-983.739),(444.993,-969.373),(430.964,-952.654),(421.169,-933.15),(416.136,-911.913),(415.5,-403),(405.5,-403),(405.855,-909.588),(411.135,-934.769),(422.435,-957.883),(439.063,-977.515),(460.001,-992.465),(483.97,-1001.818),(509.5,-1005),(1503.734,-1005.04),(1522.678,-1007.534),(1540.726,-1013.807),(1557.133,-1023.6),(1571.22,-1036.509)],
  [(4220,-1595),(1699,-1595),(1679.992,-1593.058),(1654.388,-1583.739),(1642.867,-1576.4),(1630.627,-1565.507),(1614.999,-1543.187),(1606.428,-1517.323),(1605,-1501),(1604.645,-1090.412),(1601.076,-1070.701),(1593.794,-1052.041),(1583.071,-1035.122),(1571.22,-1022.29),(1571.22,-1036.509),(1581.005,-1049.652),(1588.359,-1064.295),(1593.058,-1079.992),(1594.841,-1093.534),(1595,-1501),(1596.418,-1518.118),(1600.635,-1534.769),(1606.206,-1547.959),(1613.535,-1560.26),(1624.455,-1573.519),(1647,-1591.067),(1662.534,-1598.397),(1676.257,-1602.483),(1699,-1605),(4220,-1605)],
  [(1105,-3999),(1103.582,-3981.882),(1099.365,-3965.231),(1092.465,-3949.501),(1084.8,-3937.408),(1075.545,-3926.481),(1062.592,-3915.2),(1047.959,-3906.206),(1032.046,-3899.742),(105.88,-3899.742),(121.382,-3903.582),(138.5,-3905),(1001,-3905),(1014.624,-3905.992),(1030.567,-3909.771),(1040.726,-3913.807),(1052.654,-3920.464),(1063.491,-3928.78),(1071.22,-3936.509),(1079.536,-3947.346),(1085.001,-3956.813),(1090.229,-3969.433),(1093.058,-3979.992),(1095,-3999),(1095,-4220),(1105,-4220)],
  [(1029.299,-3898.924),(1015.285,-3895.986),(1001,-3895),(133.034,-3894.841),(119.492,-3893.058),(103.795,-3888.359),(91.5,-3882.406),(80.198,-3874.735),(70.127,-3865.507),(59.964,-3852.654),(53.307,-3840.726),(48.449,-3827.96),(45.492,-3814.624),(44.5,-3801),(44.5,-398),(34.5,-398),(34.5,-3801),(35.486,-3815.285),(38.424,-3829.299),(48.433,-3853),(63.955,-3873.519),(84.038,-3889.6),(105.88,-3899.742)])
top_main_1.add(gdstk.Reference(ground_main_1, (0,0)))

top_main = lib.new_cell('TOP_main')
top_main.add(gdstk.Reference(top_main_1, (0,0)))

top = lib.new_cell('TOP')
R(top, L50_0, [(-468.5,-207.5,-461.5,-202.5), (-438.5,-207.5,-431.5,-202.5), (431.5,-207.5,438.5,-202.5), (461.5,-207.5,468.5,-202.5), (-18.5,-202.5,-11.5,-197.5), (11.5,-202.5,18.5,-197.5)])
top.add(gdstk.Reference(top_main, (0,0)))

lib.write_gds('TOP.gds')
